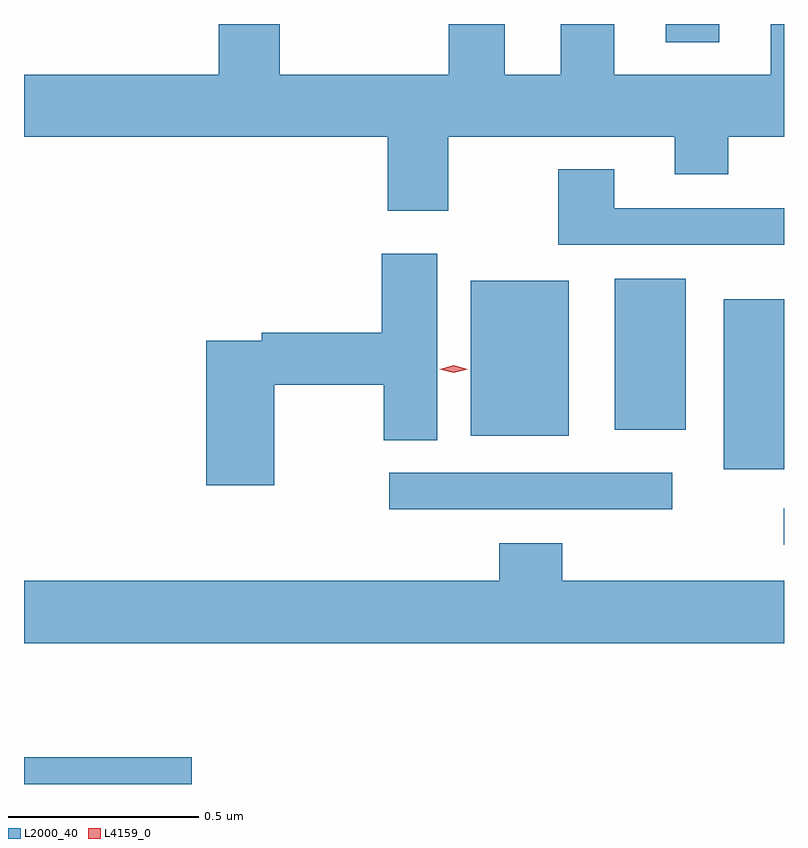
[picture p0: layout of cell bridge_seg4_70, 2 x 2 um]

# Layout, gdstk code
import gdstk
lib = gdstk.Library(unit=1e-6, precision=1e-09)
def R(c, l, rs):  # rectangles x0, y0, x1, y1
    for r in rs: c.add(gdstk.rectangle(r[:2], r[2:], *l))
def P(c, l, *ps):  # polygons
    for p in ps: c.add(gdstk.Polygon(p, *l))
L2000_40 = (2000, 40)
L4159_0 = (4159, 0)

bridge_seg4_70 = lib.new_cell('bridge_seg4_70')
R(bridge_seg4_70, L2000_40, [(719.852,765.813,720.293,765.883), (721.851,766.443,721.852,766.539), (720.813,766.536,721.558,766.632), (721.694,766.641,721.852,767.089), (721.028,766.73,721.285,767.137), (721.406,766.745,721.594,767.143), (721.541,767.765,721.681,767.813)])
P(bridge_seg4_70, L2000_40, [(721.405,767.813),(721.265,767.813),(721.265,767.68),(721.117,767.68),(721.117,767.813),(720.97,767.813),(720.97,767.68),(720.525,767.68),(720.525,767.813),(720.365,767.813),(720.365,767.68),(719.852,767.68),(719.852,767.516),(720.809,767.516),(720.809,767.322),(720.969,767.322),(720.969,767.516),(721.565,767.516),(721.565,767.417),(721.705,767.417),(721.705,767.516),(721.852,767.516),(721.852,767.813),(721.817,767.813),(721.817,767.68),(721.405,767.68)],
  [(721.852,767.328),(721.405,767.328),(721.405,767.431),(721.258,767.431),(721.258,767.232),(721.852,767.232)],
  [(720.51,766.864),(720.799,766.864),(720.799,766.717),(720.94,766.717),(720.94,767.209),(720.794,767.209),(720.794,767),(720.478,767),(720.478,766.98),(720.332,766.98),(720.332,766.599),(720.51,766.599)],
  [(721.852,766.348),(721.268,766.348),(721.268,766.447),(721.103,766.447),(721.103,766.348),(719.852,766.348),(719.852,766.184),(721.852,766.184)])
P(bridge_seg4_70, L4159_0, [(720.983,766.895),(720.946,766.905),(720.946,766.905),(720.946,766.905),(720.983,766.915),(721.02,766.905),(721.02,766.905),(721.02,766.905)])

lib.write_gds('bridge_seg4_70.gds')
